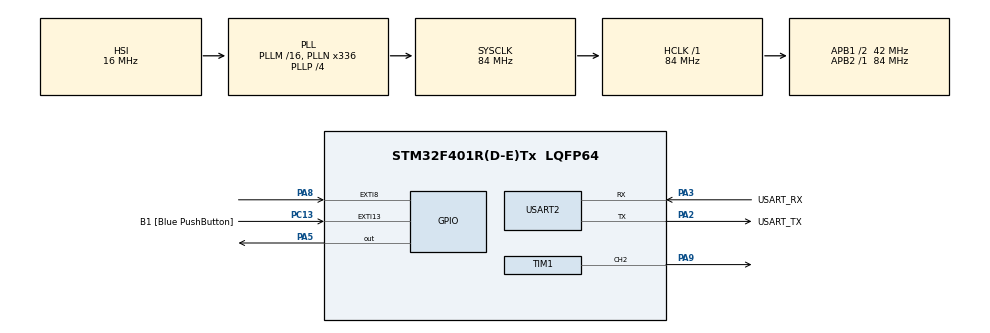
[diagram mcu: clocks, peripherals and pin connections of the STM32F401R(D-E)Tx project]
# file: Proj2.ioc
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Mcu.Family=STM32F4
Mcu.Name=STM32F401R(D-E)Tx
Mcu.Package=LQFP64
NVIC.EXTI9_5_IRQn=true\:1\:0\:true\:false\:true\:true\:true\:true
NVIC.PriorityGroup=NVIC_PRIORITYGROUP_1
PA13.GPIO_Label=TMS
PA13.Mode=Serial_Wire
PA13.Signal=SYS_JTMS-SWDIO
PA14.GPIO_Label=TCK
PA14.Mode=Serial_Wire
PA14.Signal=SYS_JTCK-SWCLK
PA2.GPIO_Label=USART_TX
PA2.GPIO_Mode=GPIO_MODE_AF_PP
PA2.GPIO_PuPd=GPIO_NOPULL
PA2.GPIO_Speed=GPIO_SPEED_FREQ_LOW
PA2.Mode=Asynchronous
PA2.Signal=USART2_TX
PA3.GPIO_Label=USART_RX
PA3.GPIO_Mode=GPIO_MODE_AF_PP
PA3.GPIO_PuPd=GPIO_NOPULL
PA3.GPIO_Speed=GPIO_SPEED_FREQ_LOW
PA3.Mode=Asynchronous
PA3.Signal=USART2_RX
PA5.Signal=GPIO_Output
PA8.Signal=GPXTI8
PA9.Signal=S_TIM1_CH2
PB3.GPIO_Label=SWO
PB3.Signal=SYS_JTDO-SWO
PC13-ANTI_TAMP.GPIO_Label=B1 [Blue PushButton]
PC13-ANTI_TAMP.GPIO_ModeDefaultEXTI=GPIO_MODE_IT_FALLING
PC13-ANTI_TAMP.GPIO_PuPd=GPIO_NOPULL
PC13-ANTI_TAMP.Signal=GPXTI13
PC14-OSC32_IN.Mode=LSE-External-Oscillator
PC14-OSC32_IN.Signal=RCC_OSC32_IN
PC15-OSC32_OUT.Mode=LSE-External-Oscillator
PC15-OSC32_OUT.Signal=RCC_OSC32_OUT
PH0\ -\ OSC_IN.Mode=HSE-External-Clock-Source
PH0\ -\ OSC_IN.Signal=RCC_OSC_IN
PH1\ -\ OSC_OUT.Mode=HSE-External-Clock-Source
PH1\ -\ OSC_OUT.Signal=RCC_OSC_OUT
ProjectManager.HeapSize=0x200
ProjectManager.StackSize=0x400
ProjectManager.TargetToolchain=STM32CubeIDE
RCC.48MHZClocksFreq_Value=48000000
RCC.AHBFreq_Value=84000000
RCC.APB1CLKDivider=RCC_HCLK_DIV2
RCC.APB1Freq_Value=42000000
RCC.APB1TimFreq_Value=84000000
RCC.APB2Freq_Value=84000000
RCC.APB2TimFreq_Value=84000000
RCC.CortexFreq_Value=84000000
RCC.HCLKFreq_Value=84000000
RCC.HSE_VALUE=8000000
RCC.HSI_VALUE=16000000
RCC.PLLN=336
RCC.PLLP=RCC_PLLP_DIV4
RCC.PLLQ=7
RCC.SYSCLKFreq_VALUE=84000000
RCC.SYSCLKSource=RCC_SYSCLKSOURCE_PLLCLK
RCC.VCOOutputFreq_Value=336000000
SH.S_TIM1_CH2.0=TIM1_CH2,PWM Generation2 CH2
TIM1.Channel-PWM\ Generation2\ CH2=TIM_CHANNEL_2
TIM1.Period=1909
TIM1.Prescaler=100-1
TIM1.Pulse-PWM\ Generation2\ CH2=954
USART2.VirtualMode=VM_ASYNC
VP_TIM1_VS_ClockSourceINT.Mode=Internal
board=NUCLEO-F401RE

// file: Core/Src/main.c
/* USER CODE BEGIN Header */
/**
  ******************************************************************************
  * @file           : main.c
  * @brief          : Main program body
  ******************************************************************************
  * @attention
  *
  * Copyright (c) 2024 STMicroelectronics.
  * All rights reserved.
  *
  * This software is licensed under terms that can be found in the LICENSE file
  * in the root directory of this software component.
  * If no LICENSE file comes with this software, it is provided AS-IS.
  *
  ******************************************************************************
  */
/* USER CODE END Header */
#include "main.h"

TIM_HandleTypeDef htim1;

UART_HandleTypeDef huart2;

void SystemClock_Config(void);
static void MX_GPIO_Init(void);
static void MX_USART2_UART_Init(void);
static void MX_TIM1_Init(void);

/* USER CODE BEGIN 0 */
#define C4 3206
#define C#4 3032
#define D4 2857
#define D#4 2701
#define E4 2545
#define F4 2407
#define F#4 2270
#define G4 2143
#define G#4 2024
#define A4 1909
#define A#4 1803
#define B4 1700

#define TEMPO 50
/* USER CODE END 0 */

struct Note {
	int period;
	int duration;
};

int playing = 0;

struct Note chorus[30] = {
		{E4, 4},
		{E4, 4},
		{F4, 4},
		{G4, 4},
		{G4, 4},
		{F4, 4},
		{E4, 4},
		{D4, 4},
		{C4, 4},
		{C4, 4},
		{D4, 4},
		{E4, 4},
		{E4, 6},
		{D4, 2},
		{D4, 8},
		{E4, 4},
		{E4, 4},
		{F4, 4},
		{G4, 4},
		{G4, 4},
		{F4, 4},
		{E4, 4},
		{D4, 4},
		{C4, 4},
		{C4, 4},
		{D4, 4},
		{E4, 4},
		{D4, 6},
		{C4, 2},
		{C4, 8}
	};

void playnote(int period, int duration){
	  TIM_ClockConfigTypeDef sClockSourceConfig = {0};
	  TIM_MasterConfigTypeDef sMasterConfig = {0};
	  TIM_OC_InitTypeDef sConfigOC = {0};
	  TIM_BreakDeadTimeConfigTypeDef sBreakDeadTimeConfig = {0};

	  htim1.Instance = TIM1;
	  htim1.Init.Prescaler = 99;
	  htim1.Init.CounterMode = TIM_COUNTERMODE_UP;
	  htim1.Init.Period = period;
	  htim1.Init.ClockDivision = TIM_CLOCKDIVISION_DIV1;
	  htim1.Init.RepetitionCounter = 0;
	  htim1.Init.AutoReloadPreload = TIM_AUTORELOAD_PRELOAD_DISABLE;
	  if (HAL_TIM_Base_Init(&htim1) != HAL_OK)
	  {
		Error_Handler();
	  }
	  sClockSourceConfig.ClockSource = TIM_CLOCKSOURCE_INTERNAL;
	  if (HAL_TIM_ConfigClockSource(&htim1, &sClockSourceConfig) != HAL_OK)
	  {
		Error_Handler();
	  }
	  if (HAL_TIM_PWM_Init(&htim1) != HAL_OK)
	  {
		Error_Handler();
	  }
	  sMasterConfig.MasterOutputTrigger = TIM_TRGO_RESET;
	  sMasterConfig.MasterSlaveMode = TIM_MASTERSLAVEMODE_DISABLE;
	  if (HAL_TIMEx_MasterConfigSynchronization(&htim1, &sMasterConfig) != HAL_OK)
	  {
		Error_Handler();
	  }
	  sConfigOC.OCMode = TIM_OCMODE_PWM1;
	  sConfigOC.Pulse = period/2;
	  sConfigOC.OCPolarity = TIM_OCPOLARITY_HIGH;
	  sConfigOC.OCNPolarity = TIM_OCNPOLARITY_HIGH;
	  sConfigOC.OCFastMode = TIM_OCFAST_DISABLE;
	  sConfigOC.OCIdleState = TIM_OCIDLESTATE_RESET;
	  sConfigOC.OCNIdleState = TIM_OCNIDLESTATE_RESET;
	  if (HAL_TIM_PWM_ConfigChannel(&htim1, &sConfigOC, TIM_CHANNEL_2) != HAL_OK)
	  {
		Error_Handler();
	  }
	  sBreakDeadTimeConfig.OffStateRunMode = TIM_OSSR_DISABLE;
	  sBreakDeadTimeConfig.OffStateIDLEMode = TIM_OSSI_DISABLE;
	  sBreakDeadTimeConfig.LockLevel = TIM_LOCKLEVEL_OFF;
	  sBreakDeadTimeConfig.DeadTime = 0;
	  sBreakDeadTimeConfig.BreakState = TIM_BREAK_DISABLE;
	  sBreakDeadTimeConfig.BreakPolarity = TIM_BREAKPOLARITY_HIGH;
	  sBreakDeadTimeConfig.AutomaticOutput = TIM_AUTOMATICOUTPUT_DISABLE;
	  if (HAL_TIMEx_ConfigBreakDeadTime(&htim1, &sBreakDeadTimeConfig) != HAL_OK)
	  {
		Error_Handler();
	  }

	  HAL_TIM_PWM_Start(&htim1, TIM_CHANNEL_2);
	  //HAL_GPIO_TogglePin(GPIOA, GPIO_PIN_5);
	  HAL_Delay(duration*TEMPO);
	  HAL_TIM_PWM_Stop(&htim1, TIM_CHANNEL_2);
	  //HAL_GPIO_TogglePin(GPIOA, GPIO_PIN_5);
	  //HAL_Delay(500);
}

void playsong(struct Note* notes){
	HAL_GPIO_TogglePin(GPIOA, GPIO_PIN_5);
	int length = sizeof(notes) / sizeof(notes[0]);
	for (int i=0; i < length; i++) {
		playnote(notes[i].period, notes[i].duration);
	}
	playing = 0;
}

void HAL_GPIO_EXTI_Callback(uint16_t GPIO_Pin) {
	 switch(GPIO_Pin) {
		 case GPIO_PIN_8:
			 if(playing == 0) {
				 playing = 1;
				 //playnote(2000, 10);
				 playsong(chorus);
			 }
			 break;
		 default: break;
	 }
}

int main(void)
{

  /* MCU Configuration--------------------------------------------------------*/

  /* Reset of all peripherals, Initializes the Flash interface and the Systick. */
  HAL_Init();

  /* Configure the system clock */
  SystemClock_Config();

  /* Initialize all configured peripherals */
  MX_GPIO_Init();
  MX_USART2_UART_Init();
  MX_TIM1_Init();
  /* USER CODE BEGIN 2 */

  HAL_NVIC_SetPriority(EXTI9_5_IRQn, 1, 0);
  HAL_NVIC_EnableIRQ(EXTI9_5_IRQn);
  /* USER CODE END 2 */

  /* Infinite loop */
  while (1)
  {

  }
}

void SystemClock_Config(void)
{
  RCC_OscInitTypeDef RCC_OscInitStruct = {0};
  RCC_ClkInitTypeDef RCC_ClkInitStruct = {0};

  /** Configure the main internal regulator output voltage
  */
  __HAL_RCC_PWR_CLK_ENABLE();
  __HAL_PWR_VOLTAGESCALING_CONFIG(PWR_REGULATOR_VOLTAGE_SCALE2);

  /** Initializes the RCC Oscillators according to the specified parameters
  * in the RCC_OscInitTypeDef structure.
  */
  RCC_OscInitStruct.OscillatorType = RCC_OSCILLATORTYPE_HSI;
  RCC_OscInitStruct.HSIState = RCC_HSI_ON;
  RCC_OscInitStruct.HSICalibrationValue = RCC_HSICALIBRATION_DEFAULT;
  RCC_OscInitStruct.PLL.PLLState = RCC_PLL_ON;
  RCC_OscInitStruct.PLL.PLLSource = RCC_PLLSOURCE_HSI;
  RCC_OscInitStruct.PLL.PLLM = 16;
  RCC_OscInitStruct.PLL.PLLN = 336;
  RCC_OscInitStruct.PLL.PLLP = RCC_PLLP_DIV4;
  RCC_OscInitStruct.PLL.PLLQ = 7;
  if (HAL_RCC_OscConfig(&RCC_OscInitStruct) != HAL_OK)
  {
    Error_Handler();
  }

  /** Initializes the CPU, AHB and APB buses clocks
  */
  RCC_ClkInitStruct.ClockType = RCC_CLOCKTYPE_HCLK|RCC_CLOCKTYPE_SYSCLK
                              |RCC_CLOCKTYPE_PCLK1|RCC_CLOCKTYPE_PCLK2;
  RCC_ClkInitStruct.SYSCLKSource = RCC_SYSCLKSOURCE_PLLCLK;
  RCC_ClkInitStruct.AHBCLKDivider = RCC_SYSCLK_DIV1;
  RCC_ClkInitStruct.APB1CLKDivider = RCC_HCLK_DIV2;
  RCC_ClkInitStruct.APB2CLKDivider = RCC_HCLK_DIV1;

  if (HAL_RCC_ClockConfig(&RCC_ClkInitStruct, FLASH_LATENCY_2) != HAL_OK)
  {
    Error_Handler();
  }
}

static void MX_TIM1_Init(void)
{

  TIM_ClockConfigTypeDef sClockSourceConfig = {0};
  TIM_MasterConfigTypeDef sMasterConfig = {0};
  TIM_OC_InitTypeDef sConfigOC = {0};
  TIM_BreakDeadTimeConfigTypeDef sBreakDeadTimeConfig = {0};

  htim1.Instance = TIM1;
  htim1.Init.Prescaler = 99;
  htim1.Init.CounterMode = TIM_COUNTERMODE_UP;
  htim1.Init.Period = 3206;
  htim1.Init.ClockDivision = TIM_CLOCKDIVISION_DIV1;
  htim1.Init.RepetitionCounter = 0;
  htim1.Init.AutoReloadPreload = TIM_AUTORELOAD_PRELOAD_DISABLE;
  if (HAL_TIM_Base_Init(&htim1) != HAL_OK)
  {
    Error_Handler();
  }
  sClockSourceConfig.ClockSource = TIM_CLOCKSOURCE_INTERNAL;
  if (HAL_TIM_ConfigClockSource(&htim1, &sClockSourceConfig) != HAL_OK)
  {
    Error_Handler();
  }
  if (HAL_TIM_PWM_Init(&htim1) != HAL_OK)
  {
    Error_Handler();
  }
  sMasterConfig.MasterOutputTrigger = TIM_TRGO_RESET;
  sMasterConfig.MasterSlaveMode = TIM_MASTERSLAVEMODE_DISABLE;
  if (HAL_TIMEx_MasterConfigSynchronization(&htim1, &sMasterConfig) != HAL_OK)
  {
    Error_Handler();
  }
  sConfigOC.OCMode = TIM_OCMODE_PWM1;
  sConfigOC.Pulse = 1603;
  sConfigOC.OCPolarity = TIM_OCPOLARITY_HIGH;
  sConfigOC.OCNPolarity = TIM_OCNPOLARITY_HIGH;
  sConfigOC.OCFastMode = TIM_OCFAST_DISABLE;
  sConfigOC.OCIdleState = TIM_OCIDLESTATE_RESET;
  sConfigOC.OCNIdleState = TIM_OCNIDLESTATE_RESET;
  if (HAL_TIM_PWM_ConfigChannel(&htim1, &sConfigOC, TIM_CHANNEL_2) != HAL_OK)
  {
    Error_Handler();
  }
  sBreakDeadTimeConfig.OffStateRunMode = TIM_OSSR_DISABLE;
  sBreakDeadTimeConfig.OffStateIDLEMode = TIM_OSSI_DISABLE;
  sBreakDeadTimeConfig.LockLevel = TIM_LOCKLEVEL_OFF;
  sBreakDeadTimeConfig.DeadTime = 0;
  sBreakDeadTimeConfig.BreakState = TIM_BREAK_DISABLE;
  sBreakDeadTimeConfig.BreakPolarity = TIM_BREAKPOLARITY_HIGH;
  sBreakDeadTimeConfig.AutomaticOutput = TIM_AUTOMATICOUTPUT_DISABLE;
  if (HAL_TIMEx_ConfigBreakDeadTime(&htim1, &sBreakDeadTimeConfig) != HAL_OK)
  {
    Error_Handler();
  }
  HAL_TIM_MspPostInit(&htim1);

}

static void MX_USART2_UART_Init(void)
{

  huart2.Instance = USART2;
  huart2.Init.BaudRate = 115200;
  huart2.Init.WordLength = UART_WORDLENGTH_8B;
  huart2.Init.StopBits = UART_STOPBITS_1;
  huart2.Init.Parity = UART_PARITY_NONE;
  huart2.Init.Mode = UART_MODE_TX_RX;
  huart2.Init.HwFlowCtl = UART_HWCONTROL_NONE;
  huart2.Init.OverSampling = UART_OVERSAMPLING_16;
  if (HAL_UART_Init(&huart2) != HAL_OK)
  {
    Error_Handler();
  }

}

static void MX_GPIO_Init(void)
{
  GPIO_InitTypeDef GPIO_InitStruct = {0};

  /* GPIO Ports Clock Enable */
  __HAL_RCC_GPIOC_CLK_ENABLE();
  __HAL_RCC_GPIOH_CLK_ENABLE();
  __HAL_RCC_GPIOA_CLK_ENABLE();
  __HAL_RCC_GPIOB_CLK_ENABLE();

  /*Configure GPIO pin Output Level */
  HAL_GPIO_WritePin(GPIOA, GPIO_PIN_5, GPIO_PIN_RESET);

  /*Configure GPIO pin : B1_Pin */
  GPIO_InitStruct.Pin = B1_Pin;
  GPIO_InitStruct.Mode = GPIO_MODE_IT_FALLING;
  GPIO_InitStruct.Pull = GPIO_NOPULL;
  HAL_GPIO_Init(B1_GPIO_Port, &GPIO_InitStruct);

  /*Configure GPIO pin : PA5 */
  GPIO_InitStruct.Pin = GPIO_PIN_5;
  GPIO_InitStruct.Mode = GPIO_MODE_OUTPUT_PP;
  GPIO_InitStruct.Pull = GPIO_NOPULL;
  GPIO_InitStruct.Speed = GPIO_SPEED_FREQ_LOW;
  HAL_GPIO_Init(GPIOA, &GPIO_InitStruct);

  /*Configure GPIO pin : PA8 */
  GPIO_InitStruct.Pin = GPIO_PIN_8;
  GPIO_InitStruct.Mode = GPIO_MODE_IT_RISING;
  GPIO_InitStruct.Pull = GPIO_NOPULL;
  HAL_GPIO_Init(GPIOA, &GPIO_InitStruct);

  /* EXTI interrupt init*/
  HAL_NVIC_SetPriority(EXTI9_5_IRQn, 1, 0);
  HAL_NVIC_EnableIRQ(EXTI9_5_IRQn);

}

void Error_Handler(void)
{
  __disable_irq();
  while (1)
  {
  }
}
